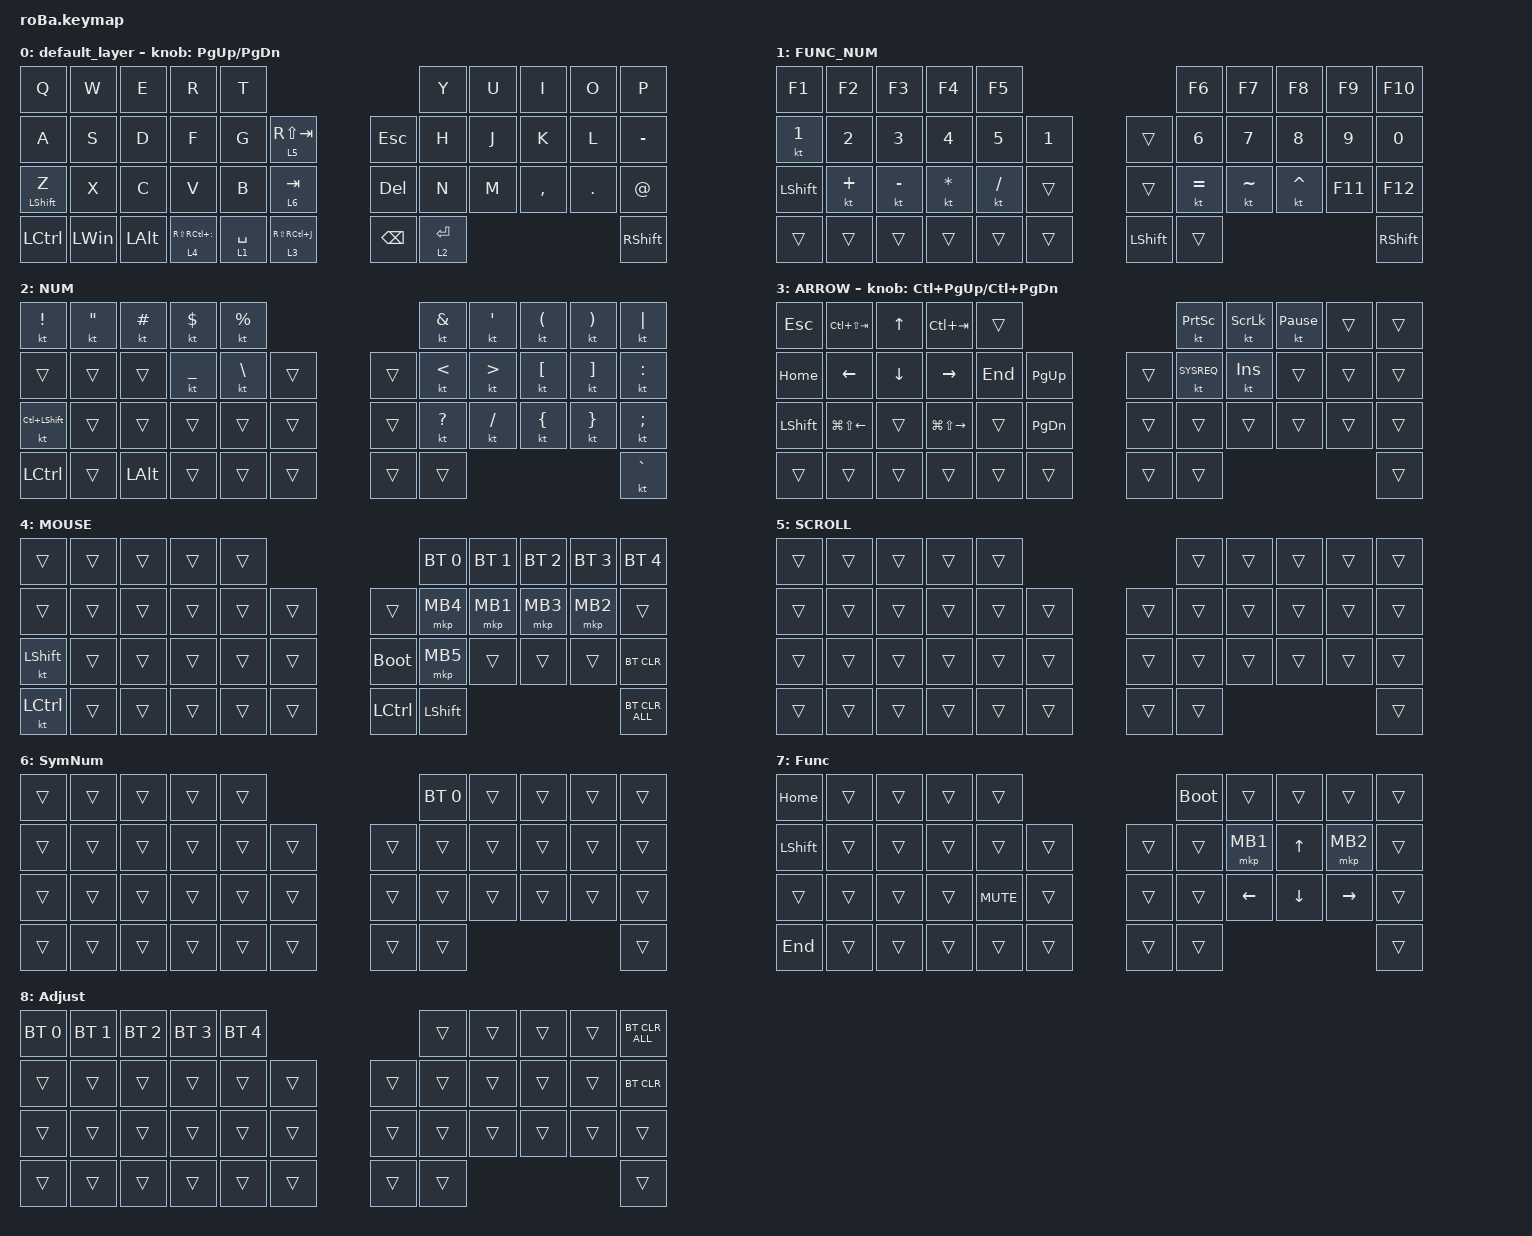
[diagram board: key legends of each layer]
#include <behaviors.dtsi>
#include <dt-bindings/zmk/bt.h>
#include <dt-bindings/zmk/keys.h>
#include <dt-bindings/zmk/pointing.h>

#define MOUSE 4
#define SCROLL 5
#define NUM 6

// OS設定を日本語キーボードのまま使用するための変換定義

#define JP_DQUOTE       AT                // "
#define JP_AMPERSAND    CARET             // &
#define JP_QUOTE        AMPERSAND         // '
#define JP_EQUAL        UNDER             // =
#define JP_CARET        EQUAL             // ^
#define JP_YEN          0x89              // ¥
#define JP_PLUS         COLON             // +
#define JP_TILDE        PLUS              // ~
#define JP_PIPE         LS(0x89)          // |
#define JP_AT           LEFT_BRACKET      // @
#define JP_COLON        SINGLE_QUOTE      // :
#define JP_ASTERISK     DOUBLE_QUOTES     // *
#define JP_BACKQUOTE    LEFT_BRACE        // `
#define JP_UNDERSCORE   LS(0x87)          // _
#define JP_LBRACKET     RIGHT_BRACKET     // [
#define JP_RBRACKET     BACKSLASH         // ]
#define JP_LPAREN       ASTERISK          // (
#define JP_RPAREN       LEFT_PARENTHESIS  // )
#define JP_LBRACE       RIGHT_BRACE       // {
#define JP_RBRACE       PIPE              // }
#define JP_KANA         LANGUAGE_1        // かな
#define JP_EISU         LANGUAGE_2        // 英数
#define JP_HANZEN       GRAVE             // 半角/全角

&mt {
    flavor = "balanced";
    quick-tap-ms = <0>;
};

/ {
    combos {
        compatible = "zmk,combos";

        tab {
            bindings = <&kp TAB>;
            key-positions = <11 12>;
        };

        shift_tab {
            bindings = <&kp LS(TAB)>;
            key-positions = <12 13>;
        };

        muhennkann {
            bindings = <&to_layer_0 INT_MUHENKAN>;
            key-positions = <11 10>;
        };

        double_quotation {
            bindings = <&kp DOUBLE_QUOTES>;
            key-positions = <20 21>;
        };

        eq {
            bindings = <&kp EQUAL>;
            key-positions = <24 25>;
        };

        nihongo {
            bindings = <&kp GRAVE>;
            key-positions = <39 37>;
        };
    };

    macros {
        to_layer_0: to_layer_0 {
            compatible = "zmk,behavior-macro-one-param";
            #binding-cells = <1>;
            bindings = <&to 0 &macro_param_1to1 &kp MACRO_PLACEHOLDER>;
            label = "TO_LAYER_0";
        };
    };

    behaviors {
        lt_to_layer_0: lt_to_layer_0 {
            compatible = "zmk,behavior-hold-tap";
            label = "LAYER_TAP_TO_0";
            bindings = <&mo>, <&to_layer_0>;

            #binding-cells = <2>;
            tapping-term-ms = <200>;
        };
    };

    keymap {
        compatible = "zmk,keymap";

        default_layer {
            bindings = <
&kp Q             &kp W         &kp E         &kp R                           &kp T                                                       &kp Y        &kp U  &kp I      &kp O    &kp P
&kp A             &kp S         &kp D         &kp F                           &kp G        &lt 5 RS(TAB)                   &kp ESCAPE     &kp H        &kp J  &kp K      &kp L    &kp MINUS
&mt LEFT_SHIFT Z  &kp X         &kp C         &kp V                           &kp B        &lt 6 TAB                       &kp DELETE     &kp N        &kp M  &kp COMMA  &kp DOT  &kp AT_SIGN
&kp LCTRL         &kp LEFT_WIN  &kp LEFT_ALT  &lt_to_layer_0 4 RS(RC(COLON))  &lt 1 SPACE  &lt_to_layer_0 3 RS(RC(J))      &kp BACKSPACE  &lt 2 ENTER                             &kp RIGHT_SHIFT
            >;

            sensor-bindings = <&inc_dec_kp PG_UP PAGE_DOWN>;
        };

        FUNC_NUM {
            bindings = <
&kp F1          &kp F2        &kp F3        &kp F4        &kp F5                                       &kp F6        &kp F7     &kp F8     &kp F9   &kp F10
&kt NUMBER_1    &kp NUMBER_2  &kp NUMBER_3  &kp NUMBER_4  &kp N5     &kp NUMBER_1      &trans          &kp NUMBER_6  &kp N7     &kp N8     &kp N9   &kp N0
&kp LEFT_SHIFT  &kt PLUS      &kt MINUS     &kt ASTERISK  &kt SLASH  &trans            &trans          &kt EQUAL     &kt TILDE  &kt CARET  &kp F11  &kp F12
&trans          &trans        &trans        &trans        &trans     &trans            &kp LEFT_SHIFT  &trans                                       &kp RIGHT_SHIFT
            >;
        };

        NUM {
            bindings = <
&kt EXCLAMATION     &kt DOUBLE_QUOTES  &kt HASH      &kt DOLLAR      &kt PERCENT                        &kt AMPERSAND  &kt SQT           &kt LEFT_PARENTHESIS  &kt RIGHT_PARENTHESIS  &kt PIPE
&trans              &trans             &trans        &kt UNDERSCORE  &kt BACKSLASH  &trans      &trans  &kt LESS_THAN  &kt GREATER_THAN  &kt LEFT_BRACKET      &kt RIGHT_BRACKET      &kt COLON
&kt LC(LEFT_SHIFT)  &trans             &trans        &trans          &trans         &trans      &trans  &kt QUESTION   &kt SLASH         &kt LEFT_BRACE        &kt RIGHT_BRACE        &kt SEMICOLON
&kp LCTRL           &trans             &kp LEFT_ALT  &trans          &trans         &trans      &trans  &trans                                                                        &kt GRAVE
            >;
        };

        ARROW {
            bindings = <
&kp ESCAPE      &kp LC(LS(TAB))         &kp UP_ARROW    &kp LC(TAB)              &trans                              &kt PRINTSCREEN  &kt SCROLLLOCK  &kt PAUSE_BREAK  &trans  &trans
&kp HOME        &kp LEFT_ARROW          &kp DOWN_ARROW  &kp RIGHT_ARROW          &kp END  &kp PAGE_UP        &trans  &kt SYSREQ       &kt INS         &trans           &trans  &trans
&kp LEFT_SHIFT  &kp LG(LS(LEFT_ARROW))  &trans          &kp LG(LS(RIGHT_ARROW))  &trans   &kp PAGE_DOWN      &trans  &trans           &trans          &trans           &trans  &trans
&trans          &trans                  &trans          &trans                   &trans   &trans             &trans  &trans                                                    &trans
            >;

            sensor-bindings = <&inc_dec_kp LC(PAGE_UP) LC(PAGE_DOWN)>;
        };

        MOUSE {
            bindings = <
&trans          &trans  &trans  &trans  &trans                           &bt BT_SEL 0  &bt BT_SEL 1  &bt BT_SEL 2  &bt BT_SEL 3  &bt BT_SEL 4
&trans          &trans  &trans  &trans  &trans  &trans      &trans       &mkp MB4      &mkp MB1      &mkp MB3      &mkp MB2      &trans
&kt LEFT_SHIFT  &trans  &trans  &trans  &trans  &trans      &bootloader  &mkp MB5      &trans        &trans        &trans        &bt BT_CLR
&kt LCTRL       &trans  &trans  &trans  &trans  &trans      &kp LCTRL    &kp LSHIFT                                              &bt BT_CLR_ALL
            >;
        };

        SCROLL {
            bindings = <
&trans  &trans  &trans  &trans  &trans                      &trans  &trans  &trans  &trans  &trans
&trans  &trans  &trans  &trans  &trans  &trans      &trans  &trans  &trans  &trans  &trans  &trans
&trans  &trans  &trans  &trans  &trans  &trans      &trans  &trans  &trans  &trans  &trans  &trans
&trans  &trans  &trans  &trans  &trans  &trans      &trans  &trans                          &trans
            >;
        };

        SymNum {
            bindings = <
&trans  &trans  &trans  &trans  &trans                      &bt BT_SEL 0  &trans  &trans  &trans  &trans
&trans  &trans  &trans  &trans  &trans  &trans      &trans  &trans        &trans  &trans  &trans  &trans
&trans  &trans  &trans  &trans  &trans  &trans      &trans  &trans        &trans  &trans  &trans  &trans
&trans  &trans  &trans  &trans  &trans  &trans      &trans  &trans                                &trans
            >;
        };

        Func {
            bindings = <
&kp HOME        &trans  &trans  &trans  &trans                          &bootloader  &trans          &trans        &trans           &trans
&kp LEFT_SHIFT  &trans  &trans  &trans  &trans      &trans      &trans  &trans       &mkp MB1        &kp UP_ARROW  &mkp MB2         &trans
&trans          &trans  &trans  &trans  &kp K_MUTE  &trans      &trans  &trans       &kp LEFT_ARROW  &kp DOWN      &kp RIGHT_ARROW  &trans
&kp END         &trans  &trans  &trans  &trans      &trans      &trans  &trans                                                      &trans
            >;
        };

        Adjust {
            bindings = <
&bt BT_SEL 0  &bt BT_SEL 1  &bt BT_SEL 2  &bt BT_SEL 3  &bt BT_SEL 4                      &trans  &trans  &trans  &trans  &bt BT_CLR_ALL
&trans        &trans        &trans        &trans        &trans        &trans      &trans  &trans  &trans  &trans  &trans  &bt BT_CLR
&trans        &trans        &trans        &trans        &trans        &trans      &trans  &trans  &trans  &trans  &trans  &trans
&trans        &trans        &trans        &trans        &trans        &trans      &trans  &trans                          &trans
            >;
        };
    };
};
